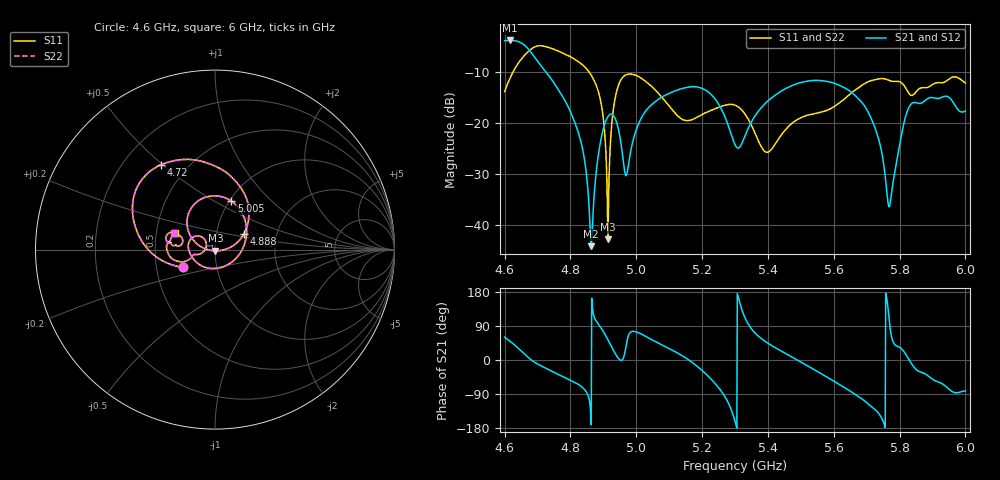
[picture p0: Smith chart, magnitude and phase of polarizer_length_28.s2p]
! TOUCHSTONE file generated by CST MICROWAVE STUDIO
! Date and time: Sun Dec  1 17:17:06 2024
! Project name: test_tuning.cst
! Parameters = {airCoaxOuterDiameter=3; chamferAngle=45; chamferWidth=24; connectorLength=10; drillingHoleDiameter=4.1; feedLength=60; flareDiameter=130; flareLength=70; gratingDistance=0; gratingGap=1.90274; outletLength=30; polarizerLength=118; probe1Diameter=1.3; probe1Distance=14; probe1Length=1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
! Header version: 2024
! Port assignment regex: !\s*Touchstone port\s*([0-9]+)\s*=\s*(CST MWS port|CST DES external port|CST DES block port)\s*(.+)\s* \(\"(.*)\"\)(\s*mode\s*([0-9]+))?.*
! Touchstone port assignment:
! Touchstone port 1 = CST MWS port 1 ("Input1")
! Touchstone port 2 = CST MWS port 2 ("Input2")
# GHz S MA R 50
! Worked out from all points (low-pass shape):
!   1001 points, 4.6 GHz to 6 GHz, reference 50 ohm
!   highest |S21| = -3.91 dB at 4.615 GHz (marker M1); lowest = -44.1 dB at 4.863 GHz (marker M2)
!   |S21| within 3 dB of the highest: start of sweep to 4.688 GHz
!   lowest |S11| = -42.8 dB at 4.914 GHz (marker M3), VSWR 1.01, Z = 50.3 - j0.682 ohm
!   |S11| at or under -10 dB: start of sweep to 4.626 GHz; 4.856 GHz to end of sweep
!   |S22| runs from -42.8 to -4.9 dB; largest |S21 - S12| = 8.2e-07
!   S11 on the Smith chart (normalised r, x): 4.6 GHz: 0.69, -0.14; 4.72 GHz: 0.36, +0.50; 4.888 GHz: 1.36, +0.24; 5.005 GHz: 1.02, +0.60; 6 GHz: 0.62, +0.12
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4.6  0.2017 -150.5  0.6349 60.2  0.6349 60.2  0.2017 -150.5
4.6154  0.2688 -163.0  0.6378 50.2  0.6378 50.2  0.2688 -163.0
4.6588  0.4498 166.3  0.5787 17.0  0.5787 17.0  0.4498 166.3
4.7204  0.56 122.3  0.3296 -19.6  0.3296 -19.6  0.56 122.3
4.8338  0.3748 67.7  0.06136 -70.3  0.06136 -70.3  0.3748 67.7
4.8632  0.2916 49.7  0.006226 -171.1  0.006226 -171.1  0.2916 49.7
4.8884  0.1826 28.3  0.05753 90.5  0.05753 90.5  0.1826 28.3
4.9136  0.007267 -68.9  0.1147 53.8  0.1147 53.8  0.007267 -68.9
4.929  0.1246 158.1  0.1192 28.1  0.1192 28.1  0.1246 158.1
4.943  0.2178 135.8  0.09398 7.4  0.09398 7.4  0.2178 135.8
4.9696  0.2953 102.0  0.03048 40.3  0.03048 40.3  0.2953 102.0
5.0046  0.2855 71.3  0.09363 72.7  0.09363 72.7  0.2855 71.3
5.0676  0.1936 25.1  0.1702 44.7  0.1702 44.7  0.1936 25.1
5.2104  0.1253 -145.9  0.2088 -35.9  0.2088 -35.9  0.1253 -145.9
5.3  0.1488 158.4  0.06113 -161.9  0.06113 -161.9  0.1488 158.4
5.3966  0.05146 164.4  0.1599 46.3  0.1599 46.3  0.05146 164.4
5.5338  0.1214 -167.2  0.2586 -21.9  0.2586 -21.9  0.1214 -167.2
5.6962  0.2442 -167.9  0.1419 -109.8  0.1419 -109.8  0.2442 -167.9
5.7382  0.2691 179.5  0.06598 -142.9  0.06598 -142.9  0.2691 179.5
5.7676  0.2604 170.4  0.01514 114.1  0.01514 114.1  0.2604 170.4
5.8348  0.1857 165.5  0.1523 -7.7  0.1523 -7.7  0.1857 165.5
6  0.2441 157.6  0.1303 -81.7  0.1303 -81.7  0.2441 157.6
